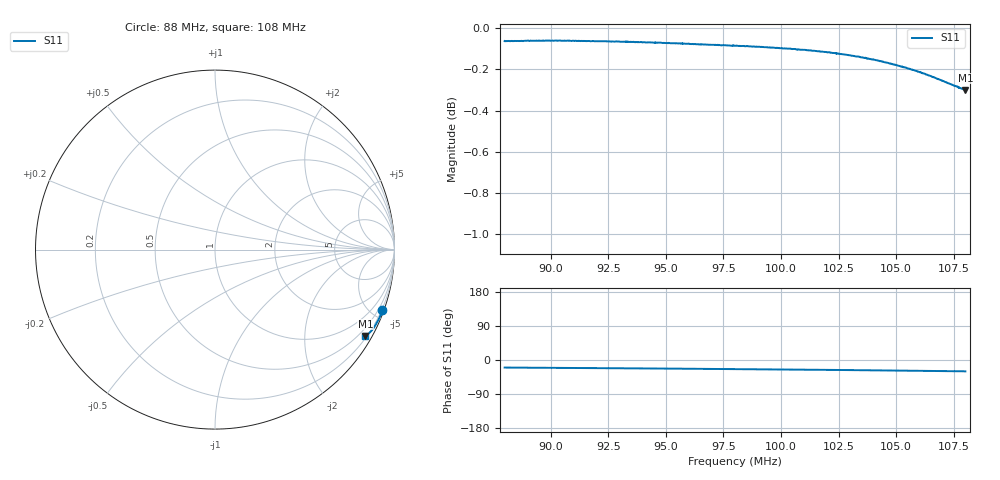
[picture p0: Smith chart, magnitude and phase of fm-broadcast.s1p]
! Calibrated averaged scanner-service zoom
# Hz S RI R 50
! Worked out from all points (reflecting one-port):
!   2001 points, 88 MHz to 108 MHz, reference 50 ohm
!   lowest |S11| = -0.3 dB at 108 MHz (marker M1), VSWR 57.80, Z = 13 - j187 ohm
!   phase of S11 starts at -20 deg and turns -10 deg over the sweep
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8.8e7  0.9332 -0.3389
8.81e7  0.933 -0.3394
8.844e7  0.9324 -0.3415
8.958e7  0.93 -0.3481
9.05e7  0.9278 -0.3538
9.231e7  0.9232 -0.3649
9.3e7  0.9213 -0.3692
9.433e7  0.9173 -0.3778
9.55e7  0.9136 -0.3854
9.687e7  0.9089 -0.3944
9.8e7  0.9049 -0.4023
9.865e7  0.9024 -0.4071
9.924e7  0.9 -0.4114
1.005e8  0.8942 -0.4211
1.0124e8  0.8906 -0.427
1.0187e8  0.8871 -0.4321
1.023e8  0.8847 -0.4358
1.03e8  0.8804 -0.4416
1.0361e8  0.8763 -0.4467
1.0427e8  0.8714 -0.4523
1.0502e8  0.8655 -0.4587
1.055e8  0.8614 -0.4627
1.0598e8  0.8571 -0.4666
1.0655e8  0.8517 -0.4711
1.0698e8  0.8474 -0.4741
1.0782e8  0.8394 -0.48
1.0793e8  0.8384 -0.4808
1.08e8  0.8376 -0.4812
